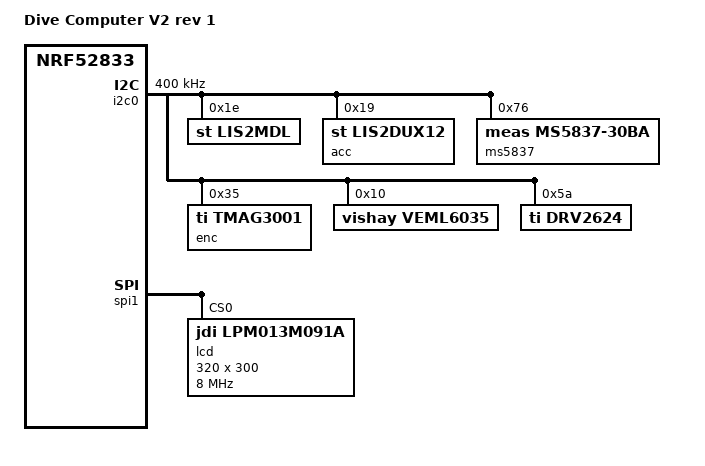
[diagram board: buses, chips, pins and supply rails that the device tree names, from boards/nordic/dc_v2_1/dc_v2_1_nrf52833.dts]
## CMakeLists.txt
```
cmake_minimum_required(VERSION 3.20.0)
set(BOARD_ROOT ${CMAKE_CURRENT_SOURCE_DIR})
find_package(Zephyr REQUIRED HINTS $ENV{ZEPHYR_BASE})

project(Firmware)

include(${CMAKE_CURRENT_SOURCE_DIR}/ostc4_baseline/exposure.cmake)
target_sources(app PRIVATE src/main.c src/firmware_exposure.c)
target_link_libraries(app PRIVATE ostc4_exposure)
```

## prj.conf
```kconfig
# SPDX-License-Identifier: Apache-2.0

# Enable MPU
CONFIG_ARM_MPU=y

# GPIO driver (rail enables, interrupts, screen control)
CONFIG_GPIO=y

# No UART is routed on this board: use SEGGER RTT over SWD for console
CONFIG_USE_SEGGER_RTT=y
CONFIG_RTT_CONSOLE=y
CONFIG_UART_CONSOLE=n
CONFIG_SERIAL=n

# Preserve OSTC4 binary32/binary64 source precision; Cortex-M4F is single only.
CONFIG_FPU=y
CONFIG_PICOLIBC=y
# Reserved stacks; static reservations are not runtime high-water measurements.
CONFIG_MAIN_STACK_SIZE=8192
CONFIG_SYSTEM_WORKQUEUE_STACK_SIZE=1024
# Honor the board's image-0 partition (0xc000..0x43000, 220 KiB).
CONFIG_USE_DT_CODE_PARTITION=y
# This development application and the calculation path use no allocation.
CONFIG_COMMON_LIBC_MALLOC_ARENA_SIZE=0
```

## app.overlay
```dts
/*
 * Devicetree overlay - Dive Computer V2 (nRF52833 QDAA, custom board)
 *
 * Carries the GPIO pin assignments of the design so they are visible
 * and editable in the Devicetree Visual Editor (Pin Overview).
 * The buses, their pinctrl and the sensor/screen nodes are defined in
 * the board files (boards/nordic/dc_v2_1/); keep the pin numbers here
 * in sync with the KiCad schematic.
 *
 * Pin map (QFN40 pin in brackets):
 *   P0.02 [32] INT_ACC1  P0.03 [31] INT_ENC    P0.04 [4]  SCREEN_SCL
 *   P0.05 [5]  SCREEN_SDI P0.09 [22] QI_EN     P0.10 [23] ~CHG
 *   P0.11 [7]  SCREEN_CS  P0.15 [14] SCL       P0.17 [15] SDA
 *   P0.20 [17] BL_PWM_MCU P0.28 [33] 1.2+1.8V_EN P0.29 [34] 3.1V_EN
 *   P0.30 [35] INT_LIGHT P0.31 [36] SYNC (TE)  P1.09 [6]  SCREEN_RST
 * (SPI/I2C bus pins are in dc_v2_1_nrf52833-pinctrl.dtsi.)
 *
 * SPDX-License-Identifier: Apache-2.0
 */

/ {
	/* Rail control outputs. All LDO enables are active high
	 * (TPS7A02 family, internal pull-down: floating = off).
	 * 1.2 V (MIPI LP-11 pins) and 1.8 V (VDDI/DCX) are driven by a
	 * single GPIO; 3.1 V (VCI) stays separate to enforce the JDI
	 * power sequence (VDDI before VCI).
	 */
	gpio-leds {
		compatible = "gpio-leds";

		rail_1v2_1v8_en {
			gpios = <&gpio0 28 GPIO_ACTIVE_HIGH>;
		};

		rail_3v1_en {
			gpios = <&gpio0 29 GPIO_ACTIVE_HIGH>;
		};

		qi_en {
			gpios = <&gpio0 9 0>;
		};

		bl_pwm_mcu {
			gpios = <&gpio0 20 GPIO_ACTIVE_HIGH>;
		};
	};

	/* Event inputs. INT_ENC (TMAG3001, open-drain + R8 10k) and
	 * INT_LIGHT (VEML6035 + R9 10k) are active low; ~CHG is the
	 * BQ51051 open-drain charge status, active low while charging
	 * (external pull-up still to be added on the schematic).
	 */
	gpio-keys {
		compatible = "zephyr,gpio-keys";

		int_acc1 {
			gpios = <&gpio0 2 GPIO_ACTIVE_HIGH>;
		};

		int_enc {
			gpios = <&gpio0 3 GPIO_ACTIVE_LOW>;
		};

		int_light {
			gpios = <&gpio0 30 GPIO_ACTIVE_LOW>;
		};
	};

	zephyr,user {
		chg_n-gpios = <&gpio0 10 (GPIO_ACTIVE_LOW | GPIO_OPEN_SOURCE)>;
	};
};

&spi1 {
	cs-gpios = <&gpio0 11 GPIO_ACTIVE_LOW>;
};

/* Screen control pins: reset (active low) and TE frame-sync input. */
&lcd {
	reset-gpios = <&gpio1 9 GPIO_ACTIVE_LOW>;
	te-gpios = <&gpio0 31 GPIO_ACTIVE_HIGH>;
};

/* Sensor interrupt pins. */
&acc {
	int1-gpios = <&gpio0 2 GPIO_ACTIVE_HIGH>;
	status = "okay";
};

&enc {
	int-gpios = <&gpio0 3 GPIO_ACTIVE_LOW>;
};
```

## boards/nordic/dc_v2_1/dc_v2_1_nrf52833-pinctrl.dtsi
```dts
/*
 * Dive Computer V2 rev 1 - pin control definitions
 *
 * Final pinout, validated against the KiCad schematic netlist and the
 * nRF52833 QDAA (QFN40) pin assignments (product spec v1.2, Table 140).
 *
 * Only bonded QFN40 GPIOs are used. Per Table 140, P0.02, P0.03, P0.09,
 * P0.10 and P0.28-P0.30 are standard-drive, low-frequency only (<= 10 kHz)
 * pins: they carry the slow control/event signals below. All fast signals
 * (I2C at 400 kHz, screen SPI at 8 MHz) are on full-speed GPIOs.
 *
 * Fast GPIOs : P0.04, P0.05, P0.11, P1.09, P0.15, P0.17, P0.20, P0.31
 * Slow GPIOs : P0.02, P0.03, P0.09, P0.10, P0.28, P0.29, P0.30
 * Reserved   : P0.00/P0.01 (32 kHz crystal XL1/XL2), P0.18 (nRESET)
 *
 * SPDX-License-Identifier: Apache-2.0
 */

&pinctrl {
	/* Shared sensor bus: LIS2MDL (0x1E), LIS2DUX12 (0x19), VEML6035,
	 * TMAG3001 (ADDR=GND), MS5837-30BA (0x76), DRV2624 (0x5A).
	 * External 4.7k pull-ups to the always-on 1.8 V rail. */
	i2c0_default: i2c0_default {
		group1 {
			psels = <NRF_PSEL(TWIM_SCL, 0, 15)>,
				<NRF_PSEL(TWIM_SDA, 0, 17)>;
		};
	};

	i2c0_sleep: i2c0_sleep {
		group1 {
			psels = <NRF_PSEL(TWIM_SCL, 0, 15)>,
				<NRF_PSEL(TWIM_SDA, 0, 17)>;
			/* High-Z in sleep: the external pull-ups to the
			 * always-on 1.8 V rail keep the bus defined while
			 * the sensors stay powered for wake-up events. */
			low-power-enable;
		};
	};

	/* JDI LPM013M091A, 3-wire 9-bit SPI. 9-bit frames are produced by
	 * packing 8 frames into 9 bytes and issuing one transfer per line
	 * with CS held low (nRF SPIM is 8-bit only). tSCYCW min = 16 ns for
	 * GRAM writes, so 8 MHz is within spec. */
	spi1_default: spi1_default {
		group1 {
			psels = <NRF_PSEL(SPIM_SCK, 0, 4)>,
				<NRF_PSEL(SPIM_MOSI, 0, 5)>;
		};
	};

	spi1_sleep: spi1_sleep {
		group1 {
			psels = <NRF_PSEL(SPIM_SCK, 0, 4)>,
				<NRF_PSEL(SPIM_MOSI, 0, 5)>;
			/* Screen rails are gated off in sleep; keep the SPI
			 * lines low so the unpowered panel is not back-
			 * powered through its ESD diodes (JDI requires
			 * interface lines at GND level while VDDI/VCI off). */
			low-power-enable;
			bias-pull-down;
		};
	};
};
```

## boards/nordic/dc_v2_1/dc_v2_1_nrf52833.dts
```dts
/*
 * Dive Computer V2 rev 1 - nRF52833 QDAA (QFN40)
 *
 * Board hardware description, matching the KiCad schematic.
 * Power architecture: high-voltage mode (VDDH = battery on pin 9, VDD
 * pins decoupling only) - the internal REG0 LDO generates the 1.8 V
 * digital supply (REGOUT0 default), so all GPIO levels are 1.8 V.
 *
 * SPDX-License-Identifier: Apache-2.0
 */

/dts-v1/;
#include <nordic/nrf52833_qdaa.dtsi>
#include "dc_v2_1_nrf52833-pinctrl.dtsi"

/ {
	model = "Dive Computer V2 rev 1";
	compatible = "dive,dc-v2-1";

	chosen {
		zephyr,sram = &sram0;
		zephyr,flash = &flash0;
		zephyr,code-partition = &slot0_partition;
		/* No UART is routed on this board (no spare QFN40 GPIO);
		 * use SEGGER RTT over SWD for console output. */
	};

	/* GPIO pin assignments (gpio-leds/gpio-keys, sensor and screen
	 * control pins, SPI chip select) live in app.overlay so they are
	 * visible and editable in the Devicetree Visual Editor. */
};

/* GPIO ports and GPIOTE are disabled by default in the SoC dtsi;
 * enable them explicitly like the Nordic reference boards do. */
&gpiote {
	status = "okay";
};

&gpio0 {
	status = "okay";
};

&gpio1 {
	status = "okay";
};

/* P0.18/nRESET is wired to the debug connector: configure it as
 * hardware reset so a locked/sleeping device can always be
 * re-attached (same effect as nrfjprog --pinresetenable). */
&uicr {
	gpio-as-nreset;
};

&i2c0 {
	status = "okay";
	pinctrl-0 = <&i2c0_default>;
	pinctrl-1 = <&i2c0_sleep>;
	pinctrl-names = "default", "sleep";
	clock-frequency = <400000>;

	/* Magnetometer, I2C mode (CS pin tied high), fixed address.
	 * INT/DRDY not routed to the MCU: polled. */
	lis2mdl@1e {
		compatible = "st,lis2mdl";
		reg = <0x1e>;
	};

	/* Accelerometer, I2C mode (CS high), SA0 high. INT1 routed
	 * (wake-on-motion, assigned in app.overlay); INT2 not routed
	 * per pin budget decision. */
	acc: lis2dux12@19 {
		compatible = "st,lis2dux12";
		reg = <0x19>;
	};

	/* Pressure sensor, fixed address. */
	ms5837: ms5837@76 {
		compatible = "meas,ms5837-30ba";
		reg = <0x76>;
	};

	/* 3D Hall sensor for the rotary encoder, ADDR pin to GND. */
	enc: tmag3001@35 {
		compatible = "ti,tmag3001";
		reg = <0x35>;
	};

	/* Ambient light sensor (out-of-tree driver, fixed address). */
	veml6035@10 {
		compatible = "vishay,veml6035";
		reg = <0x10>;
	};

	/* Haptic driver, LRA 250 Hz (out-of-tree driver, fixed address). */
	drv2624@5a {
		compatible = "ti,drv2624";
		reg = <0x5a>;
	};
};

&spi1 {
	status = "okay";
	pinctrl-0 = <&spi1_default>;
	pinctrl-1 = <&spi1_sleep>;
	pinctrl-names = "default", "sleep";

	/* JDI LPM013M091A, 320x300 RGB111 memory-in-pixel, 3-wire 9-bit
	 * SPI (IM0=GND, DCX=VDDI). Out-of-tree display driver; TE (SYNC)
	 * input for tear-free updates. Chip select, reset and TE pins are
	 * assigned in app.overlay. */
	lcd: lpm013m091a@0 {
		compatible = "jdi,lpm013m091a";
		reg = <0>;
		spi-max-frequency = <8000000>;
		width = <320>;
		height = <300>;
	};
};

&flash0 {
	partitions {
		ranges;
		#address-cells = <1>;
		#size-cells = <1>;

		boot_partition: partition@0 {
			compatible = "zephyr,mapped-partition";
			label = "mcuboot";
			reg = <0x00000000 0xc000>;
		};

		slot0_partition: partition@c000 {
			compatible = "zephyr,mapped-partition";
			label = "image-0";
			reg = <0x0000c000 0x37000>;
		};

		slot1_partition: partition@43000 {
			compatible = "zephyr,mapped-partition";
			label = "image-1";
			reg = <0x00043000 0x37000>;
		};

		storage_partition: partition@7a000 {
			compatible = "zephyr,mapped-partition";
			label = "storage";
			reg = <0x0007a000 0x00006000>;
		};
	};
};
```

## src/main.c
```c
/* SPDX-License-Identifier: GPL-3.0-or-later */
#include <zephyr/kernel.h>
#include <zephyr/sys/printk.h>
#include "firmware_exposure.h"

int main(void)
{
    printk("OSTC4 development firmware: SYNTHETIC self-test, no sensor exposure\n");
    const int status = firmware_exposure_smoke();
    /* Always fail closed, including when a smoke assertion exits early. */
    (void)ostc4_exposure_missing();
    printk("OSTC4 synthetic smoke status=%d; exposure INVALID; no dive guidance\n", status);
    return status;
}
```

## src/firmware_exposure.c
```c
/* SPDX-License-Identifier: GPL-3.0-or-later */
#include "firmware_exposure.h"
#include <math.h>
#include <string.h>

static bool synthetic;

static bool whole_seconds(uint64_t milliseconds)
{
    return milliseconds % 1000 == 0 && milliseconds / 1000 <= UINT32_MAX;
}

static ostc4_status reject(ostc4_status status)
{
    (void)ostc4_exposure_missing();
    return status;
}

ostc4_status firmware_exposure_start_synthetic(uint64_t timestamp_ms, uint32_t surface_pa)
{
    if (!whole_seconds(timestamp_ms))
        return reject(OSTC4_BAD_TIME);
    const ostc4_initial initial = {(uint32_t)(timestamp_ms / 1000), surface_pa / 100000.0f};
    const ostc4_status status = ostc4_exposure_initialize(&initial);
    if (status == OSTC4_OK)
        synthetic = true;
    return status;
}

ostc4_status firmware_exposure_sample(uint64_t timestamp_ms, uint32_t absolute_pa, bool valid)
{
    if (!synthetic)
        return OSTC4_NOT_INITIALIZED;
    if (!valid)
        return reject(OSTC4_BAD_INPUT);
    if (!whole_seconds(timestamp_ms))
        return reject(OSTC4_BAD_TIME);
    const ostc4_sample sample = {(uint32_t)(timestamp_ms / 1000), absolute_pa / 100000.0f};
    return ostc4_exposure_advance(&sample);
}

ostc4_status firmware_exposure_read(firmware_exposure_result *result)
{
    if (!result)
        return OSTC4_BAD_INPUT;
    memset(result, 0, sizeof(*result));
    result->synthetic = synthetic;
    return ostc4_exposure_read(&result->calculation);
}

static int run_smoke(void)
{
    firmware_exposure_result result;
    ostc4_observation before, prediction, after;
    if (firmware_exposure_start_synthetic(0, 101325) != OSTC4_OK ||
        firmware_exposure_read(&result) != OSTC4_OK || !result.synthetic)
        return 1;
    /* Independent arithmetic: .7902 * (1.01325 - .0493) = .76171329 bar.
     * 2e-7 bar was fixed before target compilation; this is a wiring smoke
     * check, not independent schedule acceptance or target runtime evidence. */
    for (unsigned i = 0; i < OSTC4_TISSUES; ++i)
        if (fabsf(result.calculation.nitrogen_bar[i] - 0.76171329f) > 2e-7f ||
            result.calculation.helium_bar[i] != 0.0f)
            return 2;
    if (firmware_exposure_sample(120000, 401325, true) != OSTC4_OK ||
        firmware_exposure_read(&result) != OSTC4_OK ||
        result.calculation.timestamp_seconds != 120 ||
        fabsf(result.calculation.absolute_pressure_bar - 4.01325f) > 1e-6f ||
        result.calculation.tissues != OSTC4_AVAILABLE)
        return 3;
    before = result.calculation;
    const ostc4_sample future = {240, 4.01325f};
    if (ostc4_exposure_predict(&future, &prediction) != OSTC4_OK ||
        prediction.timestamp_seconds != 240 ||
        ostc4_exposure_read(&after) != OSTC4_OK ||
        memcmp(&before, &after, sizeof(before)) != 0)
        return 4;
    if (firmware_exposure_sample(121000, 401325, false) != OSTC4_BAD_INPUT ||
        firmware_exposure_read(&result) != OSTC4_OK ||
        result.calculation.tissues != OSTC4_INVALID ||
        result.calculation.ndl != OSTC4_INVALID || result.calculation.tts != OSTC4_INVALID ||
        result.calculation.ceiling != OSTC4_INVALID || result.calculation.stops != OSTC4_INVALID)
        return 5;
    return 0;
}

int firmware_exposure_smoke(void)
{
    const int status = run_smoke();
    (void)ostc4_exposure_missing();
    return status;
}
```

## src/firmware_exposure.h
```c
/* SPDX-License-Identifier: GPL-3.0-or-later */
#ifndef FIRMWARE_EXPOSURE_H
#define FIRMWARE_EXPOSURE_H
#include "ostc4_exposure.h"
/* Development adapter: serialized calls from the application thread only.
 * No sensor/restart recovery is implemented. Only an explicit synthetic start
 * is supported. Input is absolute Pa and elapsed milliseconds on one clock.
 * Whole seconds must be supplied; missing/invalid data latches INVALID.
 */
typedef struct {
    bool synthetic;
    ostc4_observation calculation;
} firmware_exposure_result;
ostc4_status firmware_exposure_start_synthetic(uint64_t timestamp_ms, uint32_t surface_pa);
ostc4_status firmware_exposure_sample(uint64_t timestamp_ms, uint32_t absolute_pa, bool valid);
ostc4_status firmware_exposure_read(firmware_exposure_result *result);
/* Compiled on target, executed on host: independent fresh-tissue literal,
 * pressure/time conversion, prediction isolation and missing-data invalidation.
 * Leaves the synthetic exposure INVALID. Zero means all checks passed.
 */
int firmware_exposure_smoke(void);
#endif
```
